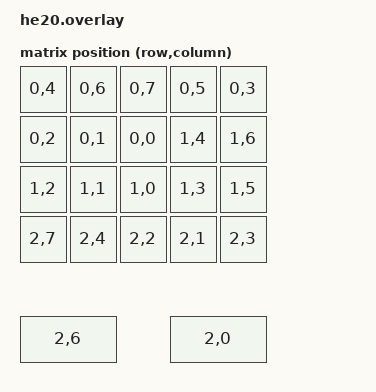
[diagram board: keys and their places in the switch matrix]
#include <dt-bindings/zmk/matrix_transform.h>
#include <dt-bindings/zmk/input_transform.h>
#include <dt-bindings/input/input-event-codes.h>
#include <input/processors.dtsi>
#include <physical_layouts.dtsi>
#include <input/he_processors.dtsi>

/ {
    chosen {
        zmk,kscan = &kscan_forwarder;
        zmk,physical-layout = &he20_physical_layout;
    };

    he20_physical_layout: he20_physical_layout {
        compatible = "zmk,physical-layout";
        display-name = "HE20";
        transform = <&default_transform>;
        kscan = <&kscan_forwarder>;

        keys  //                     w   h    x    y     rot    rx    ry
            = <&key_physical_attrs 100 100    0    0       0     0     0>
            , <&key_physical_attrs 100 100  100    0       0     0     0>
            , <&key_physical_attrs 100 100  200    0       0     0     0>
            , <&key_physical_attrs 100 100  300    0       0     0     0>
            , <&key_physical_attrs 100 100  400    0       0     0     0>
            , <&key_physical_attrs 100 100    0  100       0     0     0>
            , <&key_physical_attrs 100 100  100  100       0     0     0>
            , <&key_physical_attrs 100 100  200  100       0     0     0>
            , <&key_physical_attrs 100 100  300  100       0     0     0>
            , <&key_physical_attrs 100 100  400  100       0     0     0>
            , <&key_physical_attrs 100 100    0  200       0     0     0>
            , <&key_physical_attrs 100 100  100  200       0     0     0>
            , <&key_physical_attrs 100 100  200  200       0     0     0>
            , <&key_physical_attrs 100 100  300  200       0     0     0>
            , <&key_physical_attrs 100 100  400  200       0     0     0>
            , <&key_physical_attrs 100 100    0  300       0     0     0>
            , <&key_physical_attrs 100 100  100  300       0     0     0>
            , <&key_physical_attrs 100 100  200  300       0     0     0>
            , <&key_physical_attrs 100 100  300  300       0     0     0>
            , <&key_physical_attrs 100 100  400  300       0     0     0>
            , <&key_physical_attrs 200 100    0  500       0     0     0>
            , <&key_physical_attrs 200 100  300  500       0     0     0>
            ;
    };

    default_transform: keymap_transform_0 {
        compatible = "zmk,matrix-transform";
        columns = <8>;
        rows = <3>;
        map = <
            // Row 0: HE1      HE2      HE3      HE4      HE5
               RC(0,4)  RC(0,6)  RC(0,7)  RC(0,5)  RC(0,3)
            // Row 1: HE6      HE7      HE8      HE9      HE10
               RC(0,2)  RC(0,1)  RC(0,0)  RC(1,4)  RC(1,6)
            // Row 2: HE11     HE12     HE13     HE14     HE15
               RC(1,2)  RC(1,1)  RC(1,0)  RC(1,3)  RC(1,5)
            // Row 3: HE16     HE17     HE18     HE19     HE20
               RC(2,7)  RC(2,4)  RC(2,2)  RC(2,1)  RC(2,3)
            // Row 4: HE21(2U)          HE22(2U)
               RC(2,6)  RC(2,0)
        >;
    };

    he_kscan: kscan {
        compatible = "he,kscan-multiplexer";
        resolution = <12>;
        address-gpios = <&gpio1 13 GPIO_ACTIVE_HIGH>,  // MUX_SELECT_0 (A) = P1.13/D8
                        <&gpio1 14 GPIO_ACTIVE_HIGH>,   // MUX_SELECT_1 (B) = P1.14/D9
                        <&gpio1 15 GPIO_ACTIVE_HIGH>;   // MUX_SELECT_2 (C) = P1.15/D10
        address-to-read-delay = <5>;
        wait-period-idle = <5>;
        wait-period-press = <1>;
        kscan-forwarder = <&kscan_forwarder>;
        polyfit = <0x408b2298 0xc1167de4 0x40fed831 0xc02b2742 0x3f404977 0x3bd693e5>;
        calibrate;

        // AM1: 8 keys (HE8,HE7,HE6,HE5,HE1,HE4,HE2,HE3)
        group0 {
            io-channels = <&adc 1>;  // AIN1 = P0.03/A1 = MUX_OUT_1
            address-range-min = <0>;
            address-range-max = <7>;
            switch-height = <3300>;
        };

        // AM2: 7 keys (HE13,HE12,HE11,HE14,HE9,HE15,HE10) + X7 unused
        group1 {
            io-channels = <&adc 4>;  // AIN4 = P0.28/A2 = MUX_OUT_2
            address-range-min = <0>;
            address-range-max = <7>;
            switch-height = <3300>;
        };

        // AM3: 7 keys (HE22,HE19,HE18,HE20,HE17,(unused),HE21,HE16) + X5 unused
        group2 {
            io-channels = <&adc 5>;  // AIN5 = P0.29/A3 = MUX_OUT_3
            address-range-min = <0>;
            address-range-max = <7>;
            switch-height = <3300>;
        };
    };

    he_input_listener: he_input_listener {
        compatible = "he,input-listener";
        device = <&he_kscan>;
        input-processors = <&he_pass 0>;
    };
};

&he_pass {
    keymap-size = <22>;
};

&adc {
    status = "okay";
};

/ {
    trackball_listener {
        status = "okay";
        compatible = "zmk,input-listener";
        device = <&trackball>;
        input-processors = <&zip_temp_layer 1 700>;

        scroller {
            layers = <5>;
            input-processors =
                <&zip_xy_to_scroll_mapper>,
                <&zip_scroll_scaler 2 5>;
        };
    };
};

&pinctrl {
    spi0_default: spi0_default {
        group1 {
            psels = <NRF_PSEL(SPIM_SCK, 0, 5)>,
                <NRF_PSEL(SPIM_MOSI, 0, 4)>,
                <NRF_PSEL(SPIM_MISO, 0, 4)>;
        };
    };
    spi0_sleep: spi0_sleep {
        group1 {
            psels = <NRF_PSEL(SPIM_SCK, 0, 5)>,
                <NRF_PSEL(SPIM_MOSI, 0, 4)>,
                <NRF_PSEL(SPIM_MISO, 0, 4)>;
            low-power-enable;
        };
    };
};

&xiao_serial { status = "disabled"; };

&spi0 {
    status = "okay";
    compatible = "nordic,nrf-spim";
    pinctrl-0 = <&spi0_default>;
    pinctrl-1 = <&spi0_sleep>;
    pinctrl-names = "default", "sleep";
    cs-gpios = <&gpio0 2 GPIO_ACTIVE_LOW>;
    trackball: trackball@0 {
        status = "okay";
        compatible = "pixart,pmw3610-alt";
        reg = <0>;
        spi-max-frequency = <2000000>;
        irq-gpios = <&gpio1 11 (GPIO_ACTIVE_LOW | GPIO_PULL_UP)>;
        evt-type = <2>;  // INPUT_EV_REL
        x-input-code = <0>;  // INPUT_REL_X
        y-input-code = <1>;  // INPUT_REL_Y
        cpi = <400>;
        invert-y;
        force-awake;
        wakeup-source;
    };
};
